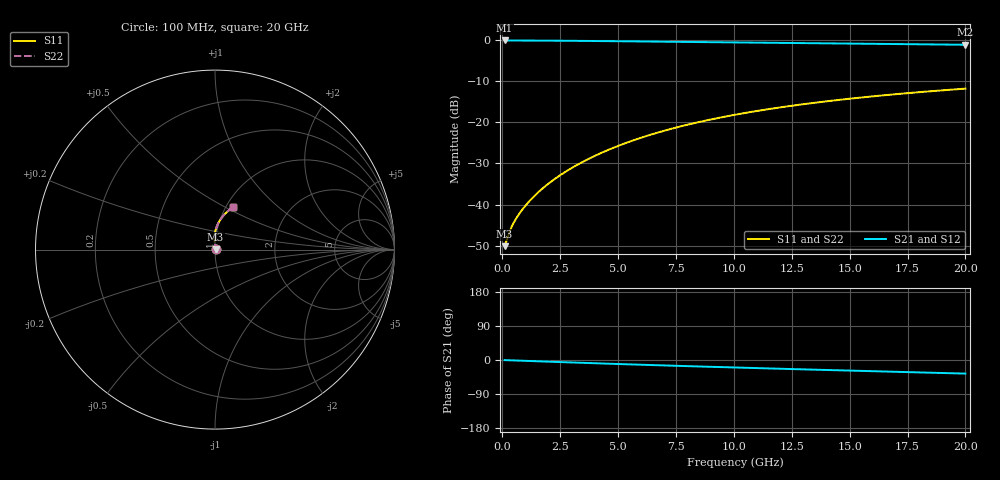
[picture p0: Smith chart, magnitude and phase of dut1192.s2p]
! Touchstone file exported from HFSS 2024.1.0
!  File:  C:/UserFiles/LocalFiles/RDL_TSV_Batchsim/temp_RDL_bottom_1192_1780057679.aedt
!  Generated:  08:30:06 PM May 29, 2026
!  Design:  RDL_bottom
!  Project:  temp_RDL_bottom_1192_1780057679
!  Setup:  Setup1
!  Solution:  Sweep
! Variables:
!  dtsv = 10.80580581um
!  hbump = 3um
!  htsv = 53.02um
!  ldown = 562.02um
!  lrdl = 100um
!  p = 40
!  p1 = 45.13um
!  rhole = 1um
!  t = 450um
!  tdown = 2.72um
!  trdl = 3.915915916um
!  wdown = 28.58um
!  wrdl = 20um
# GHz S MA R 50.000000
! Terminal data exported
! Port[1] = RDL1_T1
! Port[2] = RDL1_T2
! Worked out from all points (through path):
!   200 points, 100 MHz to 20 GHz, reference 50 ohm
!   highest |S21| = -0.03 dB at 100 MHz (marker M1); lowest = -1.1 dB at 20 GHz (marker M2)
!   group delay of S21, straight-line fit = 4.9 ps
!   lowest |S11| = -50.1 dB at 100 MHz (marker M3), VSWR 1.01, Z = 50.3 + j0.116 ohm
!   |S11| at or under -10 dB: start of sweep to end of sweep
!   |S22| runs from -50.1 to -11.8 dB; largest |S21 - S12| = 4.3e-15
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0.1  0.003109 21.8  0.9971 -0.2  0.9971 -0.2  0.003109 21.8
! Gamma 0 0 0 0
! Port Impedance 50 0 50 0
0.3  0.004546 44.6  0.9966 -0.7  0.9966 -0.7  0.004546 44.6
0.4  0.005309 50.2  0.9964 -0.9  0.9964 -0.9  0.005309 50.2
0.5  0.006045 54.5  0.9961 -1.2  0.9961 -1.2  0.006045 54.5
0.6  0.006764 58.1  0.9959 -1.4  0.9959 -1.4  0.006764 58.1
0.8  0.008201 63.9  0.9954 -1.8  0.9954 -1.8  0.008201 63.9
1  0.009679 68.7  0.9949 -2.3  0.9949 -2.3  0.009679 68.7
1.2  0.01122 72.5  0.9945 -2.7  0.9945 -2.7  0.01122 72.5
1.7  0.01535 79.6  0.993 -3.8  0.993 -3.8  0.01535 79.7
2.2  0.01987 84.4  0.9912 -4.9  0.9912 -4.9  0.01987 84.4
2.8  0.0258 88.1  0.9885 -6.1  0.9885 -6.1  0.0258 88.2
3.5  0.03338 90.8  0.9849 -7.6  0.9849 -7.6  0.03339 90.9
4.2  0.04162 92.3  0.9809 -9.0  0.9809 -9.0  0.04163 92.3
5  0.05174 92.9  0.9758 -10.6  0.9758 -10.6  0.05176 93.0
5.9  0.06383 92.7  0.9699 -12.4  0.9699 -12.4  0.06386 92.8
6.8  0.07647 91.9  0.9638 -14.0  0.9638 -14.0  0.07652 91.9
8.4  0.09973 89.5  0.953 -16.9  0.953 -16.9  0.09979 89.5
10.1  0.1248 86.2  0.9419 -19.9  0.9419 -19.9  0.1249 86.2
11.7  0.1482 82.9  0.9318 -22.6  0.9318 -22.6  0.1483 83.0
13.4  0.1725 79.4  0.9214 -25.4  0.9214 -25.4  0.1726 79.5
16.7  0.2172 72.8  0.9022 -30.7  0.9022 -30.7  0.2173 72.8
20  0.2582 66.6  0.8836 -35.9  0.8836 -35.9  0.2583 66.6
